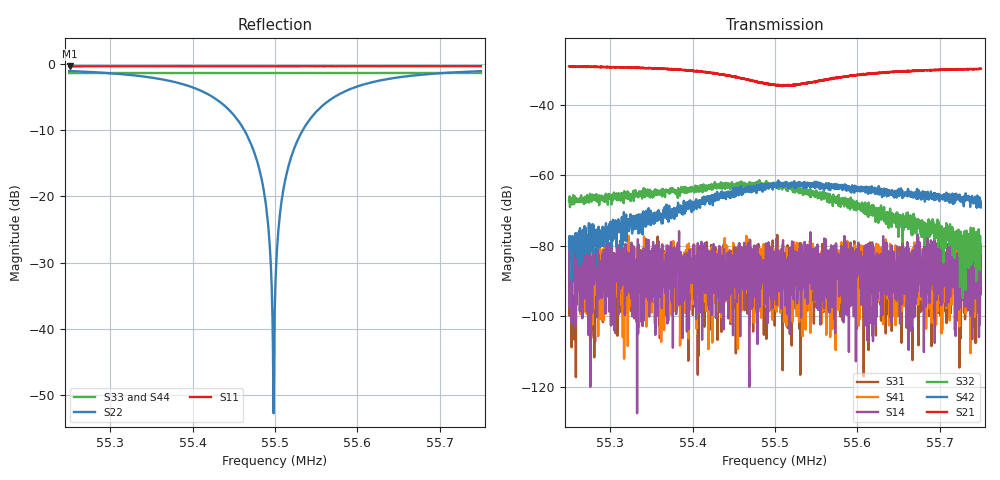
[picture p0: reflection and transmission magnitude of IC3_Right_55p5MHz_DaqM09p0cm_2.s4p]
#  HZ  S  DB  R  50.00
! Rohde & Schwarz Vector Network Analyzer
! Rohde-Schwarz,ZNB8-4Port,1311601044102961,2.82
! Created: UTC 2/13/2019, 2:20:06 PM
! freq[Hz]  db:S11  ang:S11  db:S12  ang:S12  db:S13  ang:S13  db:S14  ang:S14
!  db:S21  ang:S21  db:S22  ang:S22  db:S23  ang:S23  db:S24  ang:S24
!  db:S31  ang:S31  db:S32  ang:S32  db:S33  ang:S33  db:S34  ang:S34
!  db:S41  ang:S41  db:S42  ang:S42  db:S43  ang:S43  db:S44  ang:S44
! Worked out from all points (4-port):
!   2001 points, 55.25 MHz to 55.75 MHz, reference 50 ohm
!   strongest paths, dB at 55.25 MHz, 55.375 MHz, 55.5 MHz, 55.625 MHz, 55.75 MHz:
!     S21: -29.2, -30.1, -34.5, -31.1, -29.8
!     S42: -78.5, -70.4, -62.7, -65.4, -69.1
!     S32: -67.3, -64.8, -62.9, -70.1, -81.0
!     S14: -81.2, -87.3, -87.1, -89.2, -82.5
!     S41: -96.6, -91.5, -91.3, -89.5, -91.1
!     S31: -88.3, -89.2, -87.1, -95.2, -85.1
!   lowest |S11| = -0.4 dB at 55.2507 MHz (marker M1), VSWR 42.45, Z = 2.08 + j43.8 ohm
!   |S11| at or under -10 dB: nowhere
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5.525e7  -0.41 97.5  -29.28 74.8  -84.91 60.1  -81.18 68.2
         -29.17 74.8  -1.11 -129.3  -66.88 -151.6  -81.61 19.0
         -88.34 77.3  -67.28 -155.8  -1.41 24.7  -94.98 6.4
         -96.56 42.5  -78.53 3.0  -82.77 -9.6  -1.44 31.2
5.525075e7  -0.41 97.5  -29.24 74.6  -85.29 -96.7  -97.49 119.2
            -29.19 75.4  -1.11 -129.4  -68.03 -144.5  -80.59 -5.9
            -84.11 93.5  -66.00 -148.4  -1.41 24.6  -87.91 -12.4
            -91.84 -149.0  -78.25 -1.8  -85.34 93.8  -1.43 31.2
5.5452e7  -0.39 93.7  -32.18 55.4  -80.86 14.5  -82.92 -178.3
          -32.26 56.2  -8.06 176.0  -62.91 170.9  -64.95 -31.6
          -88.08 -38.7  -63.17 163.1  -1.41 22.2  -90.77 44.0
          -84.66 -101.2  -64.50 -26.5  -83.14 85.6  -1.42 28.7
5.549825e7  -0.39 92.9  -34.34 65.1  -86.41 -103.9  -88.31 144.5
            -34.41 66.0  -52.70 -108.9  -63.03 138.6  -63.51 -52.4
            -87.38 107.5  -63.19 137.9  -1.40 21.6  -86.53 7.4
            -85.17 128.7  -62.57 -57.6  -93.57 -169.6  -1.43 28.1
5.5511e7  -0.38 92.6  -34.60 71.3  -91.61 -78.9  -90.44 63.0
          -34.55 71.0  -18.40 -40.9  -63.77 131.6  -62.39 -63.3
          -84.09 -29.5  -62.86 130.9  -1.41 21.4  -85.93 -169.0
          -101.54 120.6  -62.38 -59.4  -87.79 65.7  -1.42 28.0
5.554475e7  -0.39 92.0  -33.67 84.3  -84.44 19.7  -92.35 -22.1
            -33.56 83.3  -8.00 -59.5  -65.18 111.8  -62.67 -83.5
            -91.66 -116.7  -64.63 111.8  -1.40 21.0  -83.20 -84.5
            -83.12 -138.1  -62.24 -82.6  -95.96 146.1  -1.42 27.5
5.575e7  -0.38 88.3  -29.91 75.2  -84.37 -31.8  -82.55 3.8
         -29.80 75.6  -1.13 -114.8  -77.26 55.1  -66.73 -125.6
         -85.15 160.9  -81.05 56.4  -1.40 18.4  -85.35 58.3
         -91.13 49.6  -69.10 -124.3  -93.66 -174.8  -1.42 24.9
